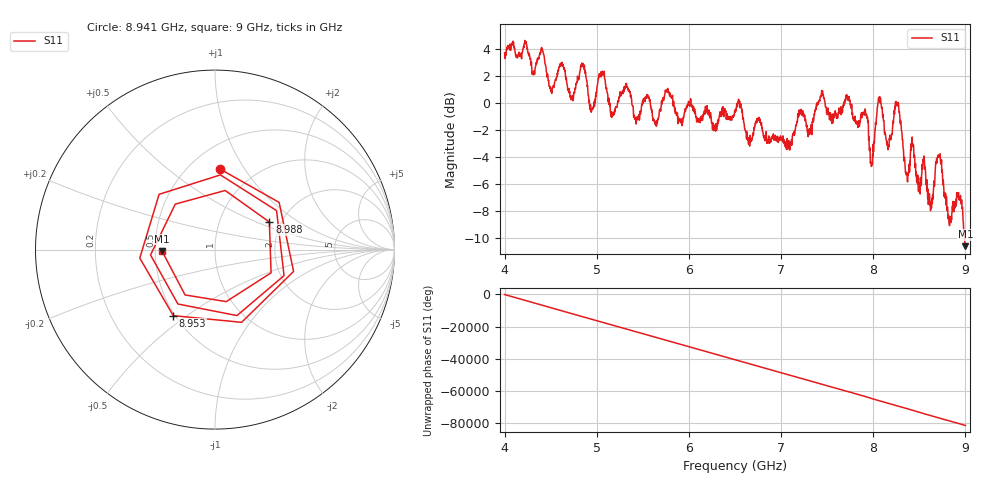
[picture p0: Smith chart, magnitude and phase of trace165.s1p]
! Created with skrf 1.8.0 (http://scikit-rf.org).
# Hz S RI R 50.0
!freq ReS11 ImS11
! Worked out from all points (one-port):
!   1601 points, 4 GHz to 9 GHz, reference 50 ohm
!   lowest |S11| = -10.6 dB at 9 GHz (marker M1), VSWR 1.84, Z = 27.2 - j0.489 ohm
!   |S11| at or under -10 dB: 8.992528 GHz to end of sweep
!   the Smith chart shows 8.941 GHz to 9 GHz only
!   S11 on the Smith chart (normalised r, x): 8.941 GHz: 0.70, +0.78; 8.953 GHz: 0.49, -0.44; 8.988 GHz: 1.74, +0.60; 9 GHz: 0.54, -0.01
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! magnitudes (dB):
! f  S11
! 4 GHz  3.7
! 4.406 GHz  3.9
! 4.509 GHz  0.9
! 4.625 GHz  2.7
! 4.728 GHz  0.4
! 4.853 GHz  2.6
! 4.941 GHz  -0.7
! 5.056 GHz  2.3
! 5.166 GHz  -1.0
! 5.25 GHz  0.5
! 5.875 GHz  -0.8
! 6.5 GHz  -0.6
! 7.125 GHz  -2.4
! 7.75 GHz  -0.1
! 7.922 GHz  -0.9
! 7.981 GHz  -4.7
! 8.062 GHz  0.3
! 8.162 GHz  -3.4
! 8.259 GHz  -0.2
! 8.375 GHz  -5.4
! 8.428 GHz  -3.1
! 8.622 GHz  -8.0
! 8.716 GHz  -3.9
! 8.825 GHz  -8.9
! 8.941 GHz  -7.0
! 8.953 GHz  -7.2
! 8.988 GHz  -9.4
! 9 GHz  -10.6
